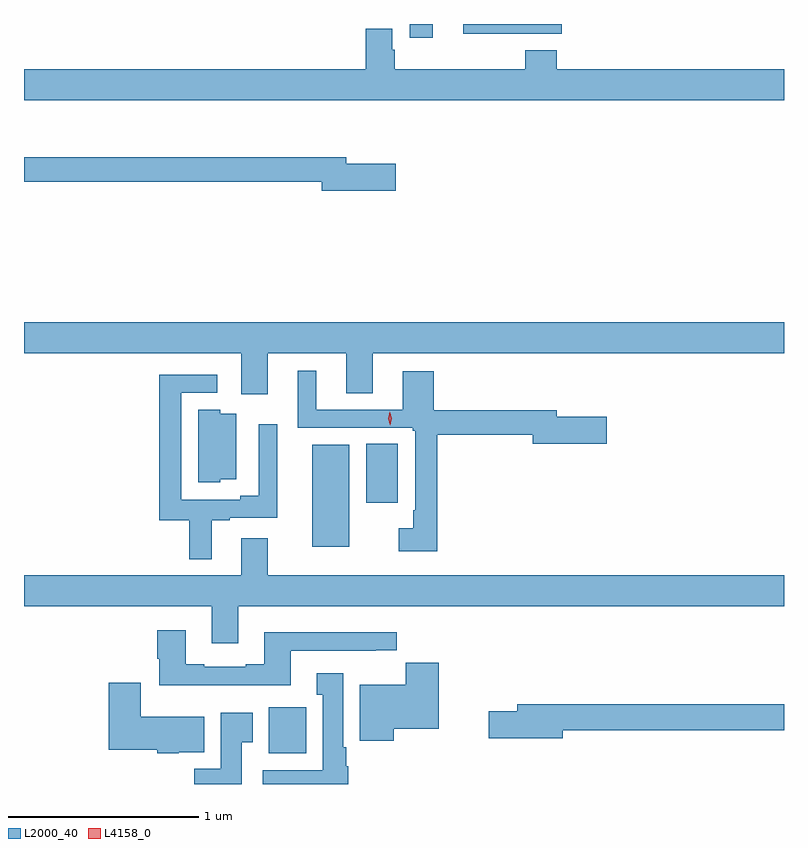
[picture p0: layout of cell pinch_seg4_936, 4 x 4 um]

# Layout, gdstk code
import gdstk
lib = gdstk.Library(unit=1e-6, precision=1e-09)
def R(c, l, rs):  # rectangles x0, y0, x1, y1
    for r in rs: c.add(gdstk.rectangle(r[:2], r[2:], *l))
def P(c, l, *ps):  # polygons
    for p in ps: c.add(gdstk.Polygon(p, *l))
L2000_40 = (2000, 40)
L4158_0 = (4158, 0)

pinch_seg4_936 = lib.new_cell('pinch_seg4_936')
R(pinch_seg4_936, L2000_40, [(699.197,750.758,699.394,751), (699.425,751.847,699.622,752.383), (699.71,752.076,699.877,752.387), (699.938,754.524,700.06,754.597), (700.221,754.547,700.739,754.597)])
P(pinch_seg4_936, L2000_40, [(701.909,754.36),(700.712,754.36),(700.712,754.459),(700.547,754.459),(700.547,754.36),(699.86,754.36),(699.86,754.461),(699.847,754.461),(699.847,754.573),(699.707,754.573),(699.707,754.36),(697.909,754.36),(697.909,754.196),(701.909,754.196)],
  [(699.865,753.861),(699.604,753.861),(699.604,753.895),(697.909,753.895),(697.909,753.766),(699.476,753.766),(699.476,753.719),(699.865,753.719)],
  [(699.193,752.864),(699.605,752.864),(699.605,752.653),(699.745,752.653),(699.745,752.864),(701.909,752.864),(701.909,753.028),(697.909,753.028),(697.909,752.864),(699.053,752.864),(699.053,752.649),(699.193,752.649)],
  [(700.085,752.434),(700.586,752.434),(700.586,752.387),(700.975,752.387),(700.975,752.529),(700.714,752.529),(700.714,752.563),(700.066,752.563),(700.066,752.77),(699.902,752.77),(699.902,752.568),(699.448,752.568),(699.448,752.773),(699.35,752.773),(699.35,752.472),(699.954,752.472),(699.954,752.457),(699.969,752.457),(699.969,752.038),(699.957,752.038),(699.957,751.942),(699.882,751.942),(699.882,751.823),(700.085,751.823)],
  [(698.896,751.986),(698.992,751.986),(698.992,751.998),(699.242,751.998),(699.242,752.491),(699.144,752.491),(699.144,752.114),(699.047,752.114),(699.047,752.094),(698.736,752.094),(698.736,752.655),(698.926,752.655),(698.926,752.751),(698.62,752.751),(698.62,751.986),(698.779,751.986),(698.779,751.781),(698.896,751.781)],
  [(698.943,752.201),(699.025,752.201),(699.025,752.545),(698.943,752.545),(698.943,752.566),(698.825,752.566),(698.825,752.186),(698.943,752.186)],
  [(699.037,751.532),(701.909,751.532),(701.909,751.696),(699.193,751.696),(699.193,751.891),(699.053,751.891),(699.053,751.696),(697.909,751.696),(697.909,751.532),(698.897,751.532),(698.897,751.338),(699.037,751.338)],
  [(699.313,751.299),(699.761,751.299),(699.761,751.301),(699.87,751.301),(699.87,751.396),(699.173,751.396),(699.173,751.228),(699.077,751.228),(699.077,751.215),(698.857,751.215),(698.857,751.228),(698.761,751.228),(698.761,751.405),(698.609,751.405),(698.609,751.257),(698.621,751.257),(698.621,751.118),(699.313,751.118)],
  [(699.856,750.887),(700.091,750.887),(700.091,751.236),(699.917,751.236),(699.917,751.12),(699.677,751.12),(699.677,750.824),(699.856,750.824)],
  [(699.616,750.69),(699.604,750.69),(699.604,750.79),(699.589,750.79),(699.589,751.18),(699.449,751.18),(699.449,751.067),(699.482,751.067),(699.482,750.67),(699.165,750.67),(699.165,750.597),(699.616,750.597)],
  [(698.724,750.764),(698.857,750.764),(698.857,750.952),(698.524,750.952),(698.524,751.129),(698.354,751.129),(698.354,750.776),(698.61,750.776),(698.61,750.758),(698.724,750.758)],
  [(700.744,750.88),(701.909,750.88),(701.909,751.016),(700.505,751.016),(700.505,750.98),(700.356,750.98),(700.356,750.838),(700.744,750.838)],
  [(699.055,750.817),(699.112,750.817),(699.112,750.973),(698.945,750.973),(698.945,750.676),(698.806,750.676),(698.806,750.597),(699.055,750.597)])
P(pinch_seg4_936, L4158_0, [(699.837,752.484),(699.836,752.485),(699.825,752.52),(699.834,752.556),(699.834,752.557),(699.834,752.556),(699.845,752.521),(699.837,752.485)])

lib.write_gds('pinch_seg4_936.gds')
